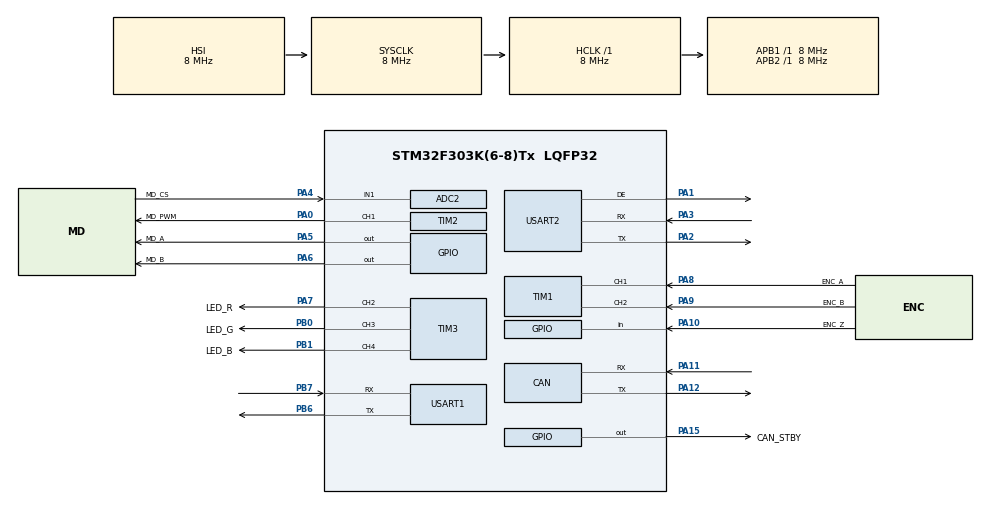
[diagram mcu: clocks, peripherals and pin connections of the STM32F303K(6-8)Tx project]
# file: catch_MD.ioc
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ADC2.Channel-0\#ChannelRegularConversion=ADC_CHANNEL_1
ADC2.NbrOfConversionFlag=1
ADC2.Offset-0\#ChannelRegularConversion=0
ADC2.OffsetNumber-0\#ChannelRegularConversion=ADC_OFFSET_NONE
ADC2.Rank-0\#ChannelRegularConversion=1
ADC2.SamplingTime-0\#ChannelRegularConversion=ADC_SAMPLETIME_1CYCLE_5
ADC2.SubFamily=STM32F303x8
CAN.CalculateTimeQuantum=2000.0
Mcu.Family=STM32F3
Mcu.Name=STM32F303K(6-8)Tx
Mcu.Package=LQFP32
NVIC.PriorityGroup=NVIC_PRIORITYGROUP_4
PA0.GPIO_Label=MD_PWM
PA0.Signal=S_TIM2_CH1_ETR
PA1.Mode=Hardware Flow Control (RS485)
PA1.Signal=USART2_DE
PA10.GPIO_Label=ENC_Z
PA10.Signal=GPIO_Input
PA11.Mode=Master
PA11.Signal=CAN_RX
PA12.Mode=Master
PA12.Signal=CAN_TX
PA13.Mode=Serial_Wire
PA13.Signal=SYS_JTMS-SWDIO
PA14.Mode=Serial_Wire
PA14.Signal=SYS_JTCK-SWCLK
PA15.GPIO_Label=CAN_STBY
PA15.Signal=GPIO_Output
PA2.Mode=Asynchronous
PA2.Signal=USART2_TX
PA3.Mode=Asynchronous
PA3.Signal=USART2_RX
PA4.GPIO_Label=MD_CS
PA4.Mode=IN1-Single-Ended
PA4.Signal=ADC2_IN1
PA5.GPIO_Label=MD_A
PA5.Signal=GPIO_Output
PA6.GPIO_Label=MD_B
PA6.Signal=GPIO_Output
PA7.GPIO_Label=LED_R
PA7.Signal=S_TIM3_CH2
PA8.GPIO_Label=ENC_A
PA8.Signal=S_TIM1_CH1
PA9.GPIO_Label=ENC_B
PA9.Signal=S_TIM1_CH2
PB0.GPIO_Label=LED_G
PB0.Signal=S_TIM3_CH3
PB1.GPIO_Label=LED_B
PB1.Signal=S_TIM3_CH4
PB6.Mode=Asynchronous
PB6.Signal=USART1_TX
PB7.Mode=Asynchronous
PB7.Signal=USART1_RX
ProjectManager.HeapSize=0x200
ProjectManager.StackSize=0x400
ProjectManager.TargetToolchain=SW4STM32
RCC.AHBFreq_Value=8000000
RCC.APB1Freq_Value=8000000
RCC.APB2Freq_Value=8000000
RCC.CortexFreq_Value=8000000
RCC.HSE_VALUE=8000000
RCC.HSI_VALUE=8000000
RCC.PLLMUL=RCC_PLL_MUL4
RCC.SYSCLKFreq_VALUE=8000000
SH.S_TIM1_CH1.0=TIM1_CH1,Encoder_Interface
SH.S_TIM1_CH2.0=TIM1_CH2,Encoder_Interface
SH.S_TIM2_CH1_ETR.0=TIM2_CH1,PWM Generation1 CH1
SH.S_TIM3_CH2.0=TIM3_CH2,PWM Generation2 CH2
SH.S_TIM3_CH3.0=TIM3_CH3,PWM Generation3 CH3
SH.S_TIM3_CH4.0=TIM3_CH4,PWM Generation4 CH4
TIM2.Channel-PWM\ Generation1\ CH1=TIM_CHANNEL_1
TIM3.Channel-PWM\ Generation2\ CH2=TIM_CHANNEL_2
TIM3.Channel-PWM\ Generation3\ CH3=TIM_CHANNEL_3
TIM3.Channel-PWM\ Generation4\ CH4=TIM_CHANNEL_4
USART1.VirtualMode-Asynchronous=VM_ASYNC
USART2.VirtualMode-Asynchronous=VM_ASYNC
USART2.VirtualMode-Hardware\ Flow\ Control\ (RS485)=VM_ASYNC
VP_TIM17_VS_ClockSourceINT.Mode=Enable_Timer
board=custom

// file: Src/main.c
/* USER CODE BEGIN Header */
/**
  ******************************************************************************
  * @file           : main.c
  * @brief          : Main program body
  ******************************************************************************
  * @attention
  *
  * <h2><center>&copy; Copyright (c) 2019 STMicroelectronics.
  * All rights reserved.</center></h2>
  *
  * This software component is licensed by ST under BSD 3-Clause license,
  * the "License"; You may not use this file except in compliance with the
  * License. You may obtain a copy of the License at:
  *                        opensource.org/licenses/BSD-3-Clause
  *
  ******************************************************************************
  */
/* USER CODE END Header */

#include "main.h"

/* USER CODE BEGIN Includes */
#include "struct.h"
#include "motor.h"
#include "encoder.h"
#include "robotstate.h"

/* USER CODE END Includes */

ADC_HandleTypeDef hadc2;

CAN_HandleTypeDef hcan;

TIM_HandleTypeDef htim1;
TIM_HandleTypeDef htim2;
TIM_HandleTypeDef htim3;
TIM_HandleTypeDef htim17;

UART_HandleTypeDef huart1;
UART_HandleTypeDef huart2;

/* USER CODE BEGIN PV */
static char s[255] = {'\0'};
/* USER CODE END PV */

void SystemClock_Config(void);
static void MX_GPIO_Init(void);
static void MX_ADC2_Init(void);
static void MX_CAN_Init(void);
static void MX_TIM1_Init(void);
static void MX_TIM2_Init(void);
static void MX_TIM3_Init(void);
static void MX_TIM17_Init(void);
static void MX_USART1_UART_Init(void);
static void MX_USART2_UART_Init(void);

int main(void)
{

  /* MCU Configuration--------------------------------------------------------*/

  /* Reset of all peripherals, Initializes the Flash interface and the Systick. */
  HAL_Init();

  /* Configure the system clock */
  SystemClock_Config();

  /* Initialize all configured peripherals */
  MX_GPIO_Init();
  MX_ADC2_Init();
  MX_CAN_Init();
  MX_TIM1_Init();
  MX_TIM2_Init();
  MX_TIM3_Init();
  MX_TIM17_Init();
  MX_USART1_UART_Init();
  MX_USART2_UART_Init();
  /* USER CODE BEGIN 2 */
  CoordinateEnable();

  EncEnable();

  HAL_Delay(1000);

  TestPos();

  HAL_Delay(1000);

  CoordinateDisable();

  /* USER CODE END 2 */

  /* Infinite loop */
  /* USER CODE BEGIN WHILE */
  while (1)
  {
	  static int16_t enc1_buf = 0;

	  EncGetData(&enc1_buf);
//	  enc1_buf = -10;
	  sprintf(s, "Enc1: %d \r\n", (int)enc1_buf);
	  HAL_UART_Transmit(&huart2,(uint8_t *)s, strlen(s), 100);
	  HAL_Delay(500);
    /* USER CODE END WHILE */

  }
}

void SystemClock_Config(void)
{
  RCC_OscInitTypeDef RCC_OscInitStruct = {0};
  RCC_ClkInitTypeDef RCC_ClkInitStruct = {0};
  RCC_PeriphCLKInitTypeDef PeriphClkInit = {0};

  /** Initializes the CPU, AHB and APB busses clocks
  */
  RCC_OscInitStruct.OscillatorType = RCC_OSCILLATORTYPE_HSI;
  RCC_OscInitStruct.HSIState = RCC_HSI_ON;
  RCC_OscInitStruct.HSICalibrationValue = RCC_HSICALIBRATION_DEFAULT;
  RCC_OscInitStruct.PLL.PLLState = RCC_PLL_ON;
  RCC_OscInitStruct.PLL.PLLSource = RCC_PLLSOURCE_HSI;
  RCC_OscInitStruct.PLL.PLLMUL = RCC_PLL_MUL4;
  if (HAL_RCC_OscConfig(&RCC_OscInitStruct) != HAL_OK)
  {
    Error_Handler();
  }
  /** Initializes the CPU, AHB and APB busses clocks
  */
  RCC_ClkInitStruct.ClockType = RCC_CLOCKTYPE_HCLK|RCC_CLOCKTYPE_SYSCLK
                              |RCC_CLOCKTYPE_PCLK1|RCC_CLOCKTYPE_PCLK2;
  RCC_ClkInitStruct.SYSCLKSource = RCC_SYSCLKSOURCE_HSI;
  RCC_ClkInitStruct.AHBCLKDivider = RCC_SYSCLK_DIV1;
  RCC_ClkInitStruct.APB1CLKDivider = RCC_HCLK_DIV1;
  RCC_ClkInitStruct.APB2CLKDivider = RCC_HCLK_DIV1;

  if (HAL_RCC_ClockConfig(&RCC_ClkInitStruct, FLASH_LATENCY_0) != HAL_OK)
  {
    Error_Handler();
  }
  PeriphClkInit.PeriphClockSelection = RCC_PERIPHCLK_USART1|RCC_PERIPHCLK_TIM1
                              |RCC_PERIPHCLK_ADC12;
  PeriphClkInit.Usart1ClockSelection = RCC_USART1CLKSOURCE_PCLK1;
  PeriphClkInit.Adc12ClockSelection = RCC_ADC12PLLCLK_DIV1;
  PeriphClkInit.Tim1ClockSelection = RCC_TIM1CLK_HCLK;
  if (HAL_RCCEx_PeriphCLKConfig(&PeriphClkInit) != HAL_OK)
  {
    Error_Handler();
  }
}

static void MX_ADC2_Init(void)
{

  ADC_ChannelConfTypeDef sConfig = {0};

  /** Common config
  */
  hadc2.Instance = ADC2;
  hadc2.Init.ClockPrescaler = ADC_CLOCK_ASYNC_DIV1;
  hadc2.Init.Resolution = ADC_RESOLUTION_12B;
  hadc2.Init.ScanConvMode = ADC_SCAN_DISABLE;
  hadc2.Init.ContinuousConvMode = DISABLE;
  hadc2.Init.DiscontinuousConvMode = DISABLE;
  hadc2.Init.ExternalTrigConvEdge = ADC_EXTERNALTRIGCONVEDGE_NONE;
  hadc2.Init.ExternalTrigConv = ADC_SOFTWARE_START;
  hadc2.Init.DataAlign = ADC_DATAALIGN_RIGHT;
  hadc2.Init.NbrOfConversion = 1;
  hadc2.Init.DMAContinuousRequests = DISABLE;
  hadc2.Init.EOCSelection = ADC_EOC_SINGLE_CONV;
  hadc2.Init.LowPowerAutoWait = DISABLE;
  hadc2.Init.Overrun = ADC_OVR_DATA_OVERWRITTEN;
  if (HAL_ADC_Init(&hadc2) != HAL_OK)
  {
    Error_Handler();
  }
  /** Configure Regular Channel
  */
  sConfig.Channel = ADC_CHANNEL_1;
  sConfig.Rank = ADC_REGULAR_RANK_1;
  sConfig.SingleDiff = ADC_SINGLE_ENDED;
  sConfig.SamplingTime = ADC_SAMPLETIME_1CYCLE_5;
  sConfig.OffsetNumber = ADC_OFFSET_NONE;
  sConfig.Offset = 0;
  if (HAL_ADC_ConfigChannel(&hadc2, &sConfig) != HAL_OK)
  {
    Error_Handler();
  }

}

static void MX_CAN_Init(void)
{

  hcan.Instance = CAN;
  hcan.Init.Prescaler = 16;
  hcan.Init.Mode = CAN_MODE_NORMAL;
  hcan.Init.SyncJumpWidth = CAN_SJW_1TQ;
  hcan.Init.TimeSeg1 = CAN_BS1_1TQ;
  hcan.Init.TimeSeg2 = CAN_BS2_1TQ;
  hcan.Init.TimeTriggeredMode = DISABLE;
  hcan.Init.AutoBusOff = DISABLE;
  hcan.Init.AutoWakeUp = DISABLE;
  hcan.Init.AutoRetransmission = DISABLE;
  hcan.Init.ReceiveFifoLocked = DISABLE;
  hcan.Init.TransmitFifoPriority = DISABLE;
  if (HAL_CAN_Init(&hcan) != HAL_OK)
  {
    Error_Handler();
  }

}

static void MX_TIM1_Init(void)
{

  TIM_Encoder_InitTypeDef sConfig = {0};
  TIM_MasterConfigTypeDef sMasterConfig = {0};

  htim1.Instance = TIM1;
  htim1.Init.Prescaler = 0;
  htim1.Init.CounterMode = TIM_COUNTERMODE_UP;
  htim1.Init.Period = 0;
  htim1.Init.ClockDivision = TIM_CLOCKDIVISION_DIV1;
  htim1.Init.RepetitionCounter = 0;
  htim1.Init.AutoReloadPreload = TIM_AUTORELOAD_PRELOAD_DISABLE;
  sConfig.EncoderMode = TIM_ENCODERMODE_TI1;
  sConfig.IC1Polarity = TIM_ICPOLARITY_RISING;
  sConfig.IC1Selection = TIM_ICSELECTION_DIRECTTI;
  sConfig.IC1Prescaler = TIM_ICPSC_DIV1;
  sConfig.IC1Filter = 0;
  sConfig.IC2Polarity = TIM_ICPOLARITY_RISING;
  sConfig.IC2Selection = TIM_ICSELECTION_DIRECTTI;
  sConfig.IC2Prescaler = TIM_ICPSC_DIV1;
  sConfig.IC2Filter = 0;
  if (HAL_TIM_Encoder_Init(&htim1, &sConfig) != HAL_OK)
  {
    Error_Handler();
  }
  sMasterConfig.MasterOutputTrigger = TIM_TRGO_RESET;
  sMasterConfig.MasterOutputTrigger2 = TIM_TRGO2_RESET;
  sMasterConfig.MasterSlaveMode = TIM_MASTERSLAVEMODE_DISABLE;
  if (HAL_TIMEx_MasterConfigSynchronization(&htim1, &sMasterConfig) != HAL_OK)
  {
    Error_Handler();
  }

}

static void MX_TIM2_Init(void)
{

  TIM_MasterConfigTypeDef sMasterConfig = {0};
  TIM_OC_InitTypeDef sConfigOC = {0};

  htim2.Instance = TIM2;
  htim2.Init.Prescaler = 0;
  htim2.Init.CounterMode = TIM_COUNTERMODE_UP;
  htim2.Init.Period = 0;
  htim2.Init.ClockDivision = TIM_CLOCKDIVISION_DIV1;
  htim2.Init.AutoReloadPreload = TIM_AUTORELOAD_PRELOAD_DISABLE;
  if (HAL_TIM_PWM_Init(&htim2) != HAL_OK)
  {
    Error_Handler();
  }
  sMasterConfig.MasterOutputTrigger = TIM_TRGO_RESET;
  sMasterConfig.MasterSlaveMode = TIM_MASTERSLAVEMODE_DISABLE;
  if (HAL_TIMEx_MasterConfigSynchronization(&htim2, &sMasterConfig) != HAL_OK)
  {
    Error_Handler();
  }
  sConfigOC.OCMode = TIM_OCMODE_PWM1;
  sConfigOC.Pulse = 0;
  sConfigOC.OCPolarity = TIM_OCPOLARITY_HIGH;
  sConfigOC.OCFastMode = TIM_OCFAST_DISABLE;
  if (HAL_TIM_PWM_ConfigChannel(&htim2, &sConfigOC, TIM_CHANNEL_1) != HAL_OK)
  {
    Error_Handler();
  }
  HAL_TIM_MspPostInit(&htim2);

}

static void MX_TIM3_Init(void)
{

  TIM_MasterConfigTypeDef sMasterConfig = {0};
  TIM_OC_InitTypeDef sConfigOC = {0};

  htim3.Instance = TIM3;
  htim3.Init.Prescaler = 0;
  htim3.Init.CounterMode = TIM_COUNTERMODE_UP;
  htim3.Init.Period = 0;
  htim3.Init.ClockDivision = TIM_CLOCKDIVISION_DIV1;
  htim3.Init.AutoReloadPreload = TIM_AUTORELOAD_PRELOAD_DISABLE;
  if (HAL_TIM_PWM_Init(&htim3) != HAL_OK)
  {
    Error_Handler();
  }
  sMasterConfig.MasterOutputTrigger = TIM_TRGO_RESET;
  sMasterConfig.MasterSlaveMode = TIM_MASTERSLAVEMODE_DISABLE;
  if (HAL_TIMEx_MasterConfigSynchronization(&htim3, &sMasterConfig) != HAL_OK)
  {
    Error_Handler();
  }
  sConfigOC.OCMode = TIM_OCMODE_PWM1;
  sConfigOC.Pulse = 0;
  sConfigOC.OCPolarity = TIM_OCPOLARITY_HIGH;
  sConfigOC.OCFastMode = TIM_OCFAST_DISABLE;
  if (HAL_TIM_PWM_ConfigChannel(&htim3, &sConfigOC, TIM_CHANNEL_2) != HAL_OK)
  {
    Error_Handler();
  }
  if (HAL_TIM_PWM_ConfigChannel(&htim3, &sConfigOC, TIM_CHANNEL_3) != HAL_OK)
  {
    Error_Handler();
  }
  if (HAL_TIM_PWM_ConfigChannel(&htim3, &sConfigOC, TIM_CHANNEL_4) != HAL_OK)
  {
    Error_Handler();
  }
  HAL_TIM_MspPostInit(&htim3);

}

static void MX_TIM17_Init(void)
{

  htim17.Instance = TIM17;
  htim17.Init.Prescaler = 0;
  htim17.Init.CounterMode = TIM_COUNTERMODE_UP;
  htim17.Init.Period = 0;
  htim17.Init.ClockDivision = TIM_CLOCKDIVISION_DIV1;
  htim17.Init.RepetitionCounter = 0;
  htim17.Init.AutoReloadPreload = TIM_AUTORELOAD_PRELOAD_DISABLE;
  if (HAL_TIM_Base_Init(&htim17) != HAL_OK)
  {
    Error_Handler();
  }

}

static void MX_USART1_UART_Init(void)
{

  huart1.Instance = USART1;
  huart1.Init.BaudRate = 38400;
  huart1.Init.WordLength = UART_WORDLENGTH_8B;
  huart1.Init.StopBits = UART_STOPBITS_1;
  huart1.Init.Parity = UART_PARITY_NONE;
  huart1.Init.Mode = UART_MODE_TX_RX;
  huart1.Init.HwFlowCtl = UART_HWCONTROL_NONE;
  huart1.Init.OverSampling = UART_OVERSAMPLING_16;
  huart1.Init.OneBitSampling = UART_ONE_BIT_SAMPLE_DISABLE;
  huart1.AdvancedInit.AdvFeatureInit = UART_ADVFEATURE_NO_INIT;
  if (HAL_UART_Init(&huart1) != HAL_OK)
  {
    Error_Handler();
  }

}

static void MX_USART2_UART_Init(void)
{

  huart2.Instance = USART2;
  huart2.Init.BaudRate = 38400;
  huart2.Init.WordLength = UART_WORDLENGTH_8B;
  huart2.Init.StopBits = UART_STOPBITS_1;
  huart2.Init.Parity = UART_PARITY_NONE;
  huart2.Init.Mode = UART_MODE_TX_RX;
  huart2.Init.HwFlowCtl = UART_HWCONTROL_NONE;
  huart2.Init.OverSampling = UART_OVERSAMPLING_16;
  huart2.Init.OneBitSampling = UART_ONE_BIT_SAMPLE_DISABLE;
  huart2.AdvancedInit.AdvFeatureInit = UART_ADVFEATURE_NO_INIT;
  if (HAL_RS485Ex_Init(&huart2, UART_DE_POLARITY_HIGH, 0, 0) != HAL_OK)
  {
    Error_Handler();
  }

}

static void MX_GPIO_Init(void)
{
  GPIO_InitTypeDef GPIO_InitStruct = {0};

  /* GPIO Ports Clock Enable */
  __HAL_RCC_GPIOA_CLK_ENABLE();
  __HAL_RCC_GPIOB_CLK_ENABLE();

  /*Configure GPIO pin Output Level */
  HAL_GPIO_WritePin(GPIOA, MD_A_Pin|MD_B_Pin|CAN_STBY_Pin, GPIO_PIN_RESET);

  /*Configure GPIO pins : MD_A_Pin MD_B_Pin CAN_STBY_Pin */
  GPIO_InitStruct.Pin = MD_A_Pin|MD_B_Pin|CAN_STBY_Pin;
  GPIO_InitStruct.Mode = GPIO_MODE_OUTPUT_PP;
  GPIO_InitStruct.Pull = GPIO_NOPULL;
  GPIO_InitStruct.Speed = GPIO_SPEED_FREQ_LOW;
  HAL_GPIO_Init(GPIOA, &GPIO_InitStruct);

  /*Configure GPIO pin : ENC_Z_Pin */
  GPIO_InitStruct.Pin = ENC_Z_Pin;
  GPIO_InitStruct.Mode = GPIO_MODE_INPUT;
  GPIO_InitStruct.Pull = GPIO_NOPULL;
  HAL_GPIO_Init(ENC_Z_GPIO_Port, &GPIO_InitStruct);

}

void Error_Handler(void)
{
}

/************************ (C) COPYRIGHT STMicroelectronics *****END OF FILE****/
